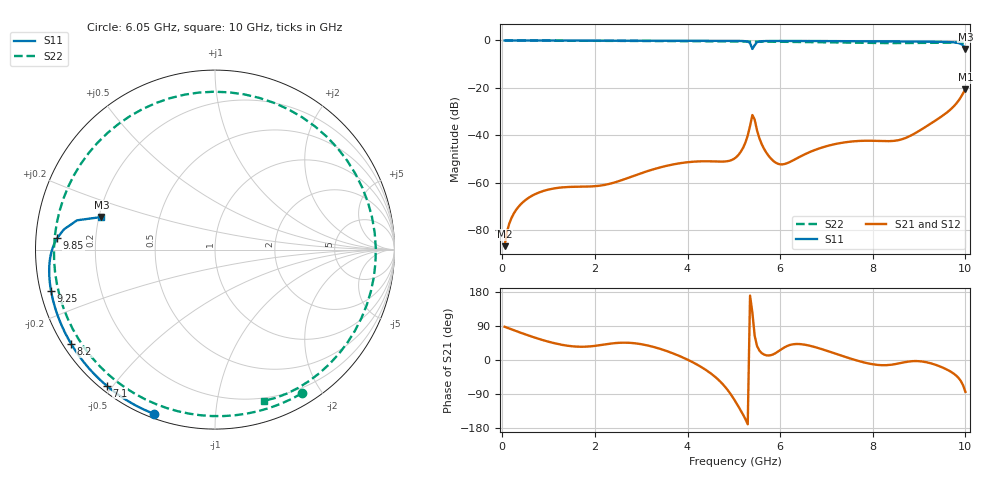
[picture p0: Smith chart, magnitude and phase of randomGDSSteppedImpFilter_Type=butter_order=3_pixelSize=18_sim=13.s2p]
! freq	dB(S11)	phase(S11)	dB(S12)	phase(S12)
!  dB(S21)	phase(S21)	dB(S22)	phase(S22)
!S-par simulation data
#  GHz  S  DB  R 50
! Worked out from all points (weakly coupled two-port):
!   200 points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, 50 MHz to 10 GHz, reference 50 ohm
!   highest |S21| = -20.62 dB at 10 GHz (marker M1); lowest = -86.8 dB at 50 MHz (marker M2)
!   lowest |S11| = -3.6 dB at 10 GHz (marker M3), VSWR 4.85, Z = 10.5 + j6.73 ohm
!   |S11| at or under -10 dB: nowhere
!   |S22| runs from -1.1 to 0.0 dB; largest |S21 - S12| = 0
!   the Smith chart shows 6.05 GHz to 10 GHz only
!   S11 on the Smith chart (normalised r, x): 6.05 GHz: 0.02, -0.69; 7.1 GHz: 0.02, -0.48; 8.2 GHz: 0.02, -0.30; 9.25 GHz: 0.03, -0.12; 9.85 GHz: 0.06, +0.04; 10 GHz: 0.21, +0.13
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0.05  -0.00 -1.0  -86.85 87.7  -86.85 87.7  -0.00 -3.7
0.4  -0.01 -8.2  -69.13 71.8  -69.13 71.8  -0.04 -28.7
0.95  -0.03 -19.3  -63.18 49.9  -63.18 49.9  -0.09 -66.7
1.75  -0.04 -35.2  -61.73 35.0  -61.73 35.0  -0.14 -117.4
2.6  -0.07 -51.6  -58.83 45.7  -58.83 45.7  -0.18 -167.2
3.4  -0.09 -66.7  -53.64 29.7  -53.64 29.7  -0.24 145.0
4.25  -0.12 -82.2  -51.05 -15.2  -51.05 -15.2  -0.32 87.6
5.05  -0.18 -97.7  -49.30 -112.7  -49.30 -112.7  -0.43 24.5
5.25  -0.33 -104.0  -43.08 -156.0  -43.08 -156.0  -0.46 7.8
5.4  -3.58 -109.6  -31.47 125.2  -31.47 125.2  -0.49 -4.7
5.45  -2.01 -89.5  -33.41 64.0  -33.41 64.0  -0.48 -8.9
5.7  -0.24 -103.1  -47.31 12.4  -47.31 12.4  -0.52 -29.9
6.05  -0.21 -110.5  -52.32 30.1  -52.32 30.1  -0.58 -58.9
6.7  -0.24 -121.9  -46.63 35.8  -46.63 35.8  -0.71 -110.9
7.1  -0.27 -128.5  -44.13 20.7  -44.13 20.7  -0.81 -142.8
7.65  -0.32 -137.6  -42.49 -1.1  -42.49 -1.1  -0.97 170.6
8.2  -0.37 -146.8  -42.49 -13.7  -42.49 -13.7  -1.10 117.3
8.35  -0.39 -149.3  -42.51 -13.2  -42.51 -13.2  -1.11 101.4
8.75  -0.44 -156.3  -40.83 -4.5  -40.83 -4.5  -1.08 56.6
9.25  -0.52 -165.8  -35.12 -8.6  -35.12 -8.6  -0.96 0.8
9.85  -1.09 175.9  -25.46 -47.0  -25.46 -47.0  -0.92 -58.9
10  -3.63 164.0  -20.62 -84.2  -20.62 -84.2  -1.05 -72.2
